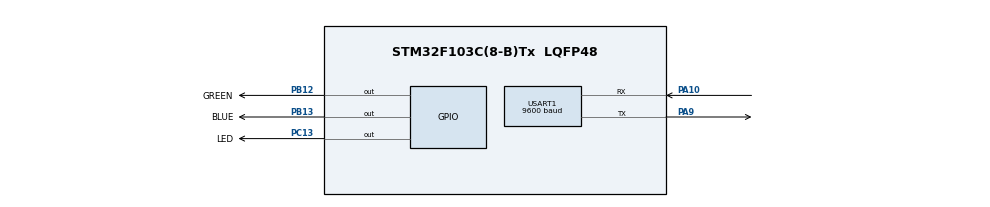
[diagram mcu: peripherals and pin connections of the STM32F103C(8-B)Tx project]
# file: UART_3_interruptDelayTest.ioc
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Mcu.Family=STM32F1
Mcu.Name=STM32F103C(8-B)Tx
Mcu.Package=LQFP48
NVIC.PriorityGroup=NVIC_PRIORITYGROUP_4
NVIC.USART1_IRQn=true\:0\:0\:false\:false\:true\:true\:true\:true
PA10.Mode=Asynchronous
PA10.Signal=USART1_RX
PA13.Mode=Serial_Wire
PA13.Signal=SYS_JTMS-SWDIO
PA14.Mode=Serial_Wire
PA14.Signal=SYS_JTCK-SWCLK
PA9.Mode=Asynchronous
PA9.Signal=USART1_TX
PB12.GPIO_Label=GREEN
PB12.Signal=GPIO_Output
PB13.GPIO_Label=BLUE
PB13.Signal=GPIO_Output
PC13-TAMPER-RTC.GPIO_Label=LED
PC13-TAMPER-RTC.Signal=GPIO_Output
PD0-OSC_IN.Mode=HSE-External-Oscillator
PD0-OSC_IN.Signal=RCC_OSC_IN
PD1-OSC_OUT.Mode=HSE-External-Oscillator
PD1-OSC_OUT.Signal=RCC_OSC_OUT
ProjectManager.HeapSize=0x200
ProjectManager.StackSize=0x400
ProjectManager.TargetToolchain=STM32CubeIDE
RCC.APB1Freq_Value=8000000
RCC.APB2Freq_Value=8000000
RCC.EnbaleCSS=true
RCC.HSICalibrationValue=8
RCC.PLLSourceVirtual=RCC_PLLSOURCE_HSE
RCC.SYSCLKSource=RCC_SYSCLKSOURCE_HSE
RCC.USBFreq_Value=16000000
USART1.BaudRate=9600
USART1.VirtualMode=VM_ASYNC
board=custom

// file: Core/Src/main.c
/* USER CODE BEGIN Header */
/**
  ******************************************************************************
  * @file           : main.c
  * @brief          : Main program body
  ******************************************************************************
  * @attention
  *
  * Copyright (c) 2023 STMicroelectronics.
  * All rights reserved.
  *
  * This software is licensed under terms that can be found in the LICENSE file
  * in the root directory of this software component.
  * If no LICENSE file comes with this software, it is provided AS-IS.
  *
  ******************************************************************************
  */
/* USER CODE END Header */
#include "main.h"

UART_HandleTypeDef huart1;

/* USER CODE BEGIN PV */
char rxBuffer[1], txBuffer[100];
/* USER CODE END PV */

void SystemClock_Config(void);
static void MX_GPIO_Init(void);
static void MX_USART1_UART_Init(void);

int main(void)
{

  /* MCU Configuration--------------------------------------------------------*/

  /* Reset of all peripherals, Initializes the Flash interface and the Systick. */
  HAL_Init();

  /* Configure the system clock */
  SystemClock_Config();

  /* Initialize all configured peripherals */
  MX_GPIO_Init();
  MX_USART1_UART_Init();
  /* USER CODE BEGIN 2 */
  char welcome[50] = "-*-*-*-*-\r\nHello Woooooooorld\a\r\n\a\r\n";
  HAL_UART_Transmit_IT(&huart1, welcome, sizeof(welcome));
  HAL_Delay(1000);

  char txBuffer2[1500] = ">> TEST TEST TEST TEST TEST TEST TEST TEST TEST TEST TEST TEST "
		  "TEST TEST TEST TEST TEST TEST TEST TEST TEST TEST TEST TEST "
		  "TEST TEST TEST TEST TEST TEST TEST TEST TEST TEST TEST TEST "
		  "TEST TEST TEST TEST TEST TEST TEST TEST TEST TEST TEST TEST "
		  "TEST TEST TEST TEST TEST TEST TEST TEST TEST TEST TEST TEST "
		  "TEST TEST TEST TEST TEST TEST TEST TEST TEST TEST TEST TEST "
		  "TEST TEST TEST TEST TEST TEST TEST TEST TEST TEST TEST TEST "
		  "TEST TEST TEST TEST TEST TEST TEST TEST TEST TEST TEST TEST "
		  "TEST TEST TEST TEST TEST TEST TEST TEST TEST TEST TEST TEST "
		  "TEST TEST TEST TEST TEST TEST TEST TEST TEST TEST TEST TEST "
		  "TEST TEST TEST TEST TEST TEST TEST TEST TEST TEST TEST TEST "
		  "TEST TEST TEST TEST TEST TEST TEST TEST TEST TEST TEST TEST "
		  "TEST TEST TEST TEST TEST TEST TEST TEST TEST TEST TEST TEST "
		  "TEST TEST TEST TEST TEST TEST TEST TEST TEST TEST TEST TEST "
		  "TEST TEST TEST TEST TEST TEST TEST TEST TEST TEST TEST TEST "
		  "TEST TEST TEST TEST TEST TEST TEST TEST TEST TEST TEST TEST "
		  "TEST TEST TEST TEST TEST TEST TEST TEST TEST TEST TEST TEST "
		  "TEST TEST TEST TEST TEST TEST TEST TEST TEST TEST TEST TEST "
		  "\r\n";
  char txBuffer1[20] = "\r\n>> BLUE\r\n\r\n";
  uint8_t count = 0;

  //HAL_UART_Receive_IT(&huart1, rxBuffer, sizeof(rxBuffer));

  HAL_UART_Receive_IT(&huart1, rxBuffer, sizeof(rxBuffer));

  /* USER CODE END 2 */

  /* Infinite loop */
  while (1)
  {
	  //sprintf(txBuffer, ">> %d >> TEST TEST TEST TEST TEST TEST TEST TEST TEST TEST TEST TEST TEST TEST TEST TEST TEST TEST TEST TEST TEST TEST TEST TEST TEST TEST\r\n",count);
	  // Test main routine timing
	  HAL_GPIO_TogglePin(LED_GPIO_Port, LED_Pin);
	  HAL_Delay(1000);
	  HAL_GPIO_TogglePin(LED_GPIO_Port, LED_Pin);
	  HAL_Delay(1000);

	  HAL_GPIO_WritePin(GREEN_GPIO_Port, GREEN_Pin, SET); // Green LED flag for large data stream
	  HAL_UART_Transmit_IT(&huart1, txBuffer2, sizeof(txBuffer2));

	  //HAL_GPIO_WritePin(BLUE_GPIO_Port, BLUE_Pin, SET); // BLUE LED flag for short data stream
	  HAL_UART_Transmit_IT(&huart1, txBuffer1, sizeof(txBuffer1));

	  //HAL_GPIO_TogglePin(GREEN_GPIO_Port, GREEN_Pin);
	  count++;

  }
}

void SystemClock_Config(void)
{
  RCC_OscInitTypeDef RCC_OscInitStruct = {0};
  RCC_ClkInitTypeDef RCC_ClkInitStruct = {0};

  /** Initializes the RCC Oscillators according to the specified parameters
  * in the RCC_OscInitTypeDef structure.
  */
  RCC_OscInitStruct.OscillatorType = RCC_OSCILLATORTYPE_HSE;
  RCC_OscInitStruct.HSEState = RCC_HSE_ON;
  RCC_OscInitStruct.PLL.PLLState = RCC_PLL_NONE;
  if (HAL_RCC_OscConfig(&RCC_OscInitStruct) != HAL_OK)
  {
    Error_Handler();
  }

  /** Initializes the CPU, AHB and APB buses clocks
  */
  RCC_ClkInitStruct.ClockType = RCC_CLOCKTYPE_HCLK|RCC_CLOCKTYPE_SYSCLK
                              |RCC_CLOCKTYPE_PCLK1|RCC_CLOCKTYPE_PCLK2;
  RCC_ClkInitStruct.SYSCLKSource = RCC_SYSCLKSOURCE_HSE;
  RCC_ClkInitStruct.AHBCLKDivider = RCC_SYSCLK_DIV1;
  RCC_ClkInitStruct.APB1CLKDivider = RCC_HCLK_DIV1;
  RCC_ClkInitStruct.APB2CLKDivider = RCC_HCLK_DIV1;

  if (HAL_RCC_ClockConfig(&RCC_ClkInitStruct, FLASH_LATENCY_0) != HAL_OK)
  {
    Error_Handler();
  }

  /** Enables the Clock Security System
  */
  HAL_RCC_EnableCSS();
}

static void MX_USART1_UART_Init(void)
{

  huart1.Instance = USART1;
  huart1.Init.BaudRate = 9600;
  huart1.Init.WordLength = UART_WORDLENGTH_8B;
  huart1.Init.StopBits = UART_STOPBITS_1;
  huart1.Init.Parity = UART_PARITY_NONE;
  huart1.Init.Mode = UART_MODE_TX_RX;
  huart1.Init.HwFlowCtl = UART_HWCONTROL_NONE;
  huart1.Init.OverSampling = UART_OVERSAMPLING_16;
  if (HAL_UART_Init(&huart1) != HAL_OK)
  {
    Error_Handler();
  }

}

static void MX_GPIO_Init(void)
{
  GPIO_InitTypeDef GPIO_InitStruct = {0};

  /* GPIO Ports Clock Enable */
  __HAL_RCC_GPIOC_CLK_ENABLE();
  __HAL_RCC_GPIOD_CLK_ENABLE();
  __HAL_RCC_GPIOB_CLK_ENABLE();
  __HAL_RCC_GPIOA_CLK_ENABLE();

  /*Configure GPIO pin Output Level */
  HAL_GPIO_WritePin(LED_GPIO_Port, LED_Pin, GPIO_PIN_RESET);

  /*Configure GPIO pin Output Level */
  HAL_GPIO_WritePin(GPIOB, GREEN_Pin|BLUE_Pin, GPIO_PIN_RESET);

  /*Configure GPIO pin : LED_Pin */
  GPIO_InitStruct.Pin = LED_Pin;
  GPIO_InitStruct.Mode = GPIO_MODE_OUTPUT_PP;
  GPIO_InitStruct.Pull = GPIO_NOPULL;
  GPIO_InitStruct.Speed = GPIO_SPEED_FREQ_LOW;
  HAL_GPIO_Init(LED_GPIO_Port, &GPIO_InitStruct);

  /*Configure GPIO pins : GREEN_Pin BLUE_Pin */
  GPIO_InitStruct.Pin = GREEN_Pin|BLUE_Pin;
  GPIO_InitStruct.Mode = GPIO_MODE_OUTPUT_PP;
  GPIO_InitStruct.Pull = GPIO_NOPULL;
  GPIO_InitStruct.Speed = GPIO_SPEED_FREQ_LOW;
  HAL_GPIO_Init(GPIOB, &GPIO_InitStruct);

}

/* USER CODE BEGIN 4 */

void HAL_UART_TxCpltCallback(UART_HandleTypeDef *huart){
	HAL_GPIO_WritePin(GREEN_GPIO_Port, GREEN_Pin, RESET);
	//HAL_GPIO_WritePin(BLUE_GPIO_Port, BLUE_Pin, RESET);
}

void HAL_UART_RxCpltCallback(UART_HandleTypeDef *huart){
	HAL_GPIO_TogglePin(BLUE_GPIO_Port, BLUE_Pin);
	HAL_UART_Transmit_IT(&huart1, rxBuffer, sizeof(rxBuffer));

	HAL_UART_Receive_IT(&huart1, rxBuffer, sizeof(rxBuffer));
}

/* USER CODE END 4 */

void Error_Handler(void)
{
  __disable_irq();
  while (1)
  {
  }
}
